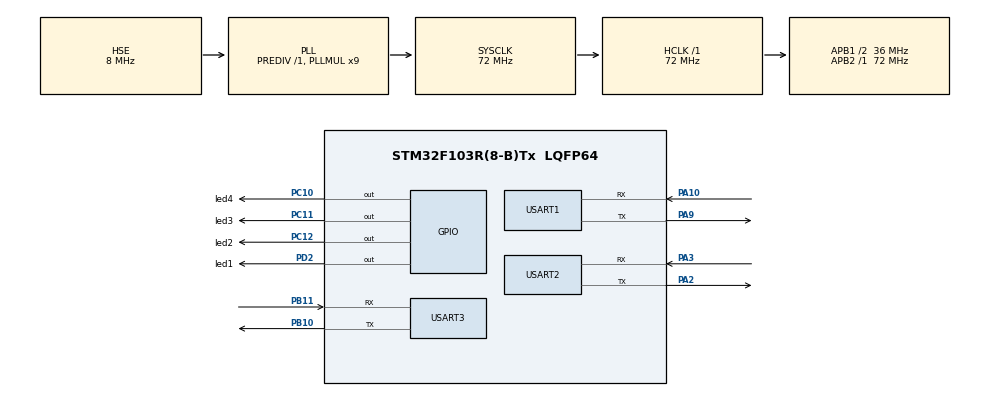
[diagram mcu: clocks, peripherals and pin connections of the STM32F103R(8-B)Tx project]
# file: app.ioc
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Mcu.Family=STM32F1
Mcu.Name=STM32F103R(8-B)Tx
Mcu.Package=LQFP64
NVIC.PriorityGroup=NVIC_PRIORITYGROUP_4
PA10.Mode=Asynchronous
PA10.Signal=USART1_RX
PA13.Mode=JTAG_4_pins
PA13.Signal=SYS_JTMS-SWDIO
PA14.Mode=JTAG_4_pins
PA14.Signal=SYS_JTCK-SWCLK
PA15.Mode=JTAG_4_pins
PA15.Signal=SYS_JTDI
PA2.Mode=Asynchronous
PA2.Signal=USART2_TX
PA3.Mode=Asynchronous
PA3.Signal=USART2_RX
PA9.Mode=Asynchronous
PA9.Signal=USART1_TX
PB10.Mode=Asynchronous
PB10.Signal=USART3_TX
PB11.Mode=Asynchronous
PB11.Signal=USART3_RX
PB3.Mode=JTAG_4_pins
PB3.Signal=SYS_JTDO-TRACESWO
PC10.GPIO_Label=led4
PC10.GPIO_ModeDefaultOutputPP=GPIO_MODE_OUTPUT_PP
PC10.GPIO_PuPd=GPIO_PULLUP
PC10.Signal=GPIO_Output
PC11.GPIO_Label=led3
PC11.GPIO_PuPd=GPIO_PULLUP
PC11.GPIO_Speed=GPIO_SPEED_FREQ_LOW
PC11.Signal=GPIO_Output
PC12.GPIO_Label=led2
PC12.GPIO_PuPd=GPIO_PULLUP
PC12.GPIO_Speed=GPIO_SPEED_FREQ_HIGH
PC12.Signal=GPIO_Output
PD0-OSC_IN.Mode=HSE-External-Oscillator
PD0-OSC_IN.Signal=RCC_OSC_IN
PD1-OSC_OUT.Mode=HSE-External-Oscillator
PD1-OSC_OUT.Signal=RCC_OSC_OUT
PD2.GPIO_Label=led1
PD2.GPIO_PuPd=GPIO_PULLUP
PD2.Signal=GPIO_Output
ProjectManager.HeapSize=0x200
ProjectManager.StackSize=0x400
ProjectManager.TargetToolchain=MDK-ARM V5
RCC.AHBFreq_Value=72000000
RCC.APB1CLKDivider=RCC_HCLK_DIV2
RCC.APB1Freq_Value=36000000
RCC.APB1TimFreq_Value=72000000
RCC.APB2Freq_Value=72000000
RCC.APB2TimFreq_Value=72000000
RCC.HCLKFreq_Value=72000000
RCC.PLLMUL=RCC_PLL_MUL9
RCC.PLLSourceVirtual=RCC_PLLSOURCE_HSE
RCC.SYSCLKFreq_VALUE=72000000
RCC.SYSCLKSource=RCC_SYSCLKSOURCE_PLLCLK
RCC.USBFreq_Value=72000000
USART1.VirtualMode=VM_ASYNC
USART2.VirtualMode=VM_ASYNC
USART3.VirtualMode=VM_ASYNC
board=custom

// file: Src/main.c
/* USER CODE BEGIN Header */
/**
  ******************************************************************************
  * @file           : main.c
  * @brief          : Main program body
  ******************************************************************************
  * @attention
  *
  * <h2><center>&copy; Copyright (c) 2019 STMicroelectronics.
  * All rights reserved.</center></h2>
  *
  * This software component is licensed by ST under BSD 3-Clause license,
  * the "License"; You may not use this file except in compliance with the
  * License. You may obtain a copy of the License at:
  *                        opensource.org/licenses/BSD-3-Clause
  *
  ******************************************************************************
  */
/* USER CODE END Header */

#include "main.h"
#include "usart.h"
#include "gpio.h"

void SystemClock_Config(void);

/* USER CODE BEGIN 0 */
/*! 重定向printf到串口1*/
#ifdef __GNUC_
#define PUTCHAR_PROTOTYPE int __io_putchar(int ch)
#else
#define PUTCHAR_PROTOTYPE int fputc(int ch, FILE *f)
#endif
PUTCHAR_PROTOTYPE
{
	HAL_UART_Transmit(&huart1, (uint8_t *)&ch, 1, 0xFFFF);

	return ch;
}
/* USER CODE END 0 */

int main(void)
{

  /* MCU Configuration--------------------------------------------------------*/

  /* Reset of all peripherals, Initializes the Flash interface and the Systick. */
  HAL_Init();

  /* Configure the system clock */
  SystemClock_Config();

  /* Initialize all configured peripherals */
  MX_GPIO_Init();
  MX_USART1_UART_Init();
  MX_USART2_UART_Init();
  MX_USART3_UART_Init();
  /* USER CODE BEGIN 2 */
  __set_PRIMASK(0);// 打开全局中断。
  /* USER CODE END 2 */

  /* Infinite loop */
  /* USER CODE BEGIN WHILE */
	printf("\n----App start----.\n");
	HAL_GPIO_TogglePin(GPIOC, led3_Pin);
	HAL_Delay(1000);
	HAL_GPIO_TogglePin(GPIOC, led3_Pin);
  while (1)
  {
    /* USER CODE END WHILE */

    /* USER CODE BEGIN 3 */
		HAL_GPIO_TogglePin(GPIOC, led3_Pin);
		HAL_Delay(500);
		printf("*");

  }
  /* USER CODE END 3 */
}

void SystemClock_Config(void)
{
  RCC_OscInitTypeDef RCC_OscInitStruct = {0};
  RCC_ClkInitTypeDef RCC_ClkInitStruct = {0};

  /** Initializes the CPU, AHB and APB busses clocks
  */
  RCC_OscInitStruct.OscillatorType = RCC_OSCILLATORTYPE_HSE;
  RCC_OscInitStruct.HSEState = RCC_HSE_ON;
  RCC_OscInitStruct.HSEPredivValue = RCC_HSE_PREDIV_DIV1;
  RCC_OscInitStruct.HSIState = RCC_HSI_ON;
  RCC_OscInitStruct.PLL.PLLState = RCC_PLL_ON;
  RCC_OscInitStruct.PLL.PLLSource = RCC_PLLSOURCE_HSE;
  RCC_OscInitStruct.PLL.PLLMUL = RCC_PLL_MUL9;
  if (HAL_RCC_OscConfig(&RCC_OscInitStruct) != HAL_OK)
  {
    Error_Handler();
  }
  /** Initializes the CPU, AHB and APB busses clocks
  */
  RCC_ClkInitStruct.ClockType = RCC_CLOCKTYPE_HCLK|RCC_CLOCKTYPE_SYSCLK
                              |RCC_CLOCKTYPE_PCLK1|RCC_CLOCKTYPE_PCLK2;
  RCC_ClkInitStruct.SYSCLKSource = RCC_SYSCLKSOURCE_PLLCLK;
  RCC_ClkInitStruct.AHBCLKDivider = RCC_SYSCLK_DIV1;
  RCC_ClkInitStruct.APB1CLKDivider = RCC_HCLK_DIV2;
  RCC_ClkInitStruct.APB2CLKDivider = RCC_HCLK_DIV1;

  if (HAL_RCC_ClockConfig(&RCC_ClkInitStruct, FLASH_LATENCY_2) != HAL_OK)
  {
    Error_Handler();
  }
}

void Error_Handler(void)
{
}

/************************ (C) COPYRIGHT STMicroelectronics *****END OF FILE****/
